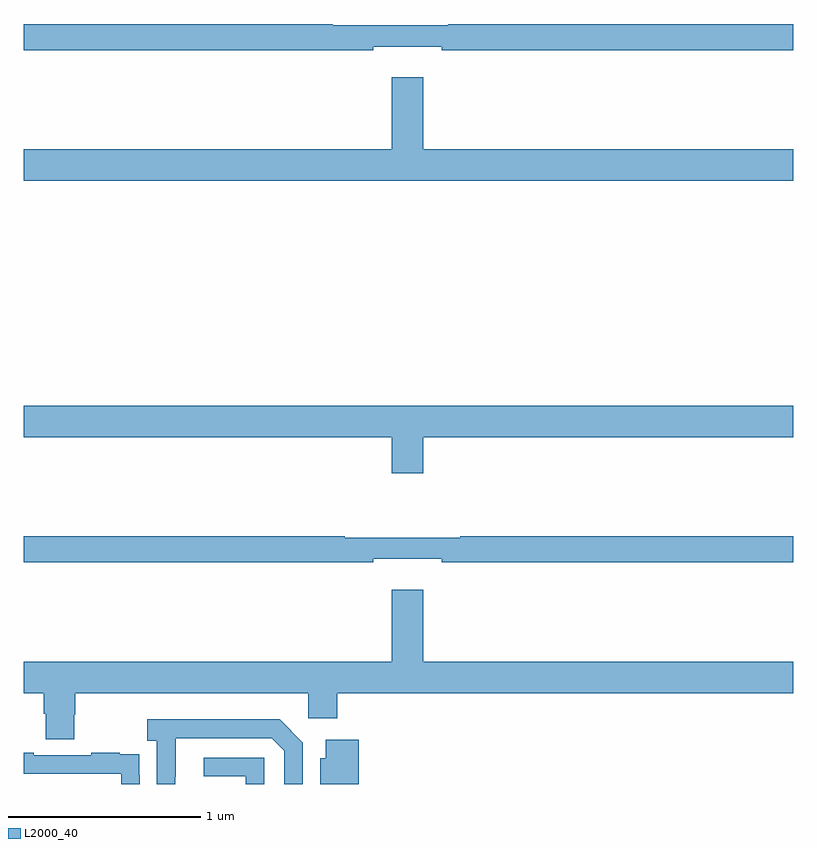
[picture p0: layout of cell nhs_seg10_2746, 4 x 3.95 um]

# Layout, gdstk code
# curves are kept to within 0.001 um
import gdstk
lib = gdstk.Library(unit=1e-6, precision=1e-09)
def P(c, l, *ps):  # polygons
    for p in ps: c.add(gdstk.Polygon(p, *l))
L2000_40 = (2000, 40)

nhs_seg10_2746 = lib.new_cell('nhs_seg10_2746')
P(nhs_seg10_2746, L2000_40, [(260.816,1314.335),(261.172,1314.335),(261.172,1314.316),(263,1314.316),(263,1314.452),(261.206,1314.452),(261.206,1314.445),(260.606,1314.445),(260.606,1314.452),(259,1314.452),(259,1314.316),(260.816,1314.316)],
  [(263,1313.8),(261.076,1313.8),(261.076,1314.175),(260.912,1314.175),(260.912,1313.8),(259,1313.8),(259,1313.636),(263,1313.636)],
  [(261.076,1312.304),(263,1312.304),(263,1312.468),(259,1312.468),(259,1312.304),(260.912,1312.304),(260.912,1312.116),(261.076,1312.116)],
  [(260.816,1311.671),(261.172,1311.671),(261.172,1311.652),(263,1311.652),(263,1311.788),(261.269,1311.788),(261.269,1311.781),(260.669,1311.781),(260.669,1311.788),(259,1311.788),(259,1311.652),(260.816,1311.652)],
  [(259.263,1310.859),(259.267,1310.859),(259.267,1310.972),(260.478,1310.972),(260.478,1310.841),(260.63,1310.841),(260.63,1310.972),(263,1310.972),(263,1311.136),(261.076,1311.136),(261.076,1311.511),(260.912,1311.511),(260.912,1311.136),(259,1311.136),(259,1310.972),(259.103,1310.972),(259.103,1310.866),(259.115,1310.866),(259.115,1310.734),(259.263,1310.734)],
  [(259.788,1310.539),(259.789,1310.739),(260.289,1310.739),(260.355,1310.673),(260.355,1310.5),(260.451,1310.5),(260.451,1310.715),(260.33,1310.836),(259.641,1310.836),(259.641,1310.726),(259.692,1310.726),(259.692,1310.5),(259.788,1310.5)],
  [(260.741,1310.731),(260.57,1310.731),(260.57,1310.635),(260.54,1310.635),(260.54,1310.5),(260.741,1310.5)],
  [(259.602,1310.546),(259.601,1310.546),(259.601,1310.655),(259.499,1310.655),(259.499,1310.662),(259.351,1310.662),(259.351,1310.649),(259.051,1310.649),(259.051,1310.662),(259,1310.662),(259,1310.553),(259.506,1310.553),(259.506,1310.5),(259.602,1310.5)],
  [(260.25,1310.637),(259.935,1310.637),(259.935,1310.541),(260.154,1310.541),(260.154,1310.5),(260.25,1310.5)])

lib.write_gds('nhs_seg10_2746.gds')
